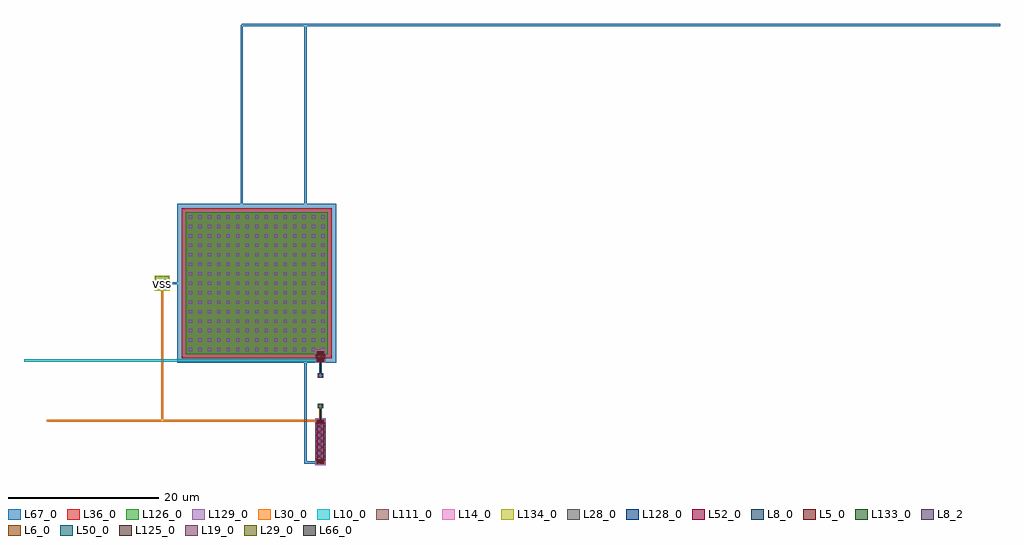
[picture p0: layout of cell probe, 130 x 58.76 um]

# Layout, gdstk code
import gdstk
lib = gdstk.Library(unit=1e-6, precision=1e-09)
def R(c, l, rs):  # rectangles x0, y0, x1, y1
    for r in rs: c.add(gdstk.rectangle(r[:2], r[2:], *l))
def A(c, l, x, y, w, h, nx, ny, dx, dy):  # array of equal rectangles
    R(c, l, [(x+i*dx, y+j*dy, x+i*dx+w, y+j*dy+h) for i in range(nx) for j in range(ny)])
L5_0 = (5, 0)
L6_0 = (6, 0)
L8_0 = (8, 0)
L8_2 = (8, 2)
L10_0 = (10, 0)
L14_0 = (14, 0)
L19_0 = (19, 0)
L28_0 = (28, 0)
L29_0 = (29, 0)
L30_0 = (30, 0)
L36_0 = (36, 0)
L50_0 = (50, 0)
L52_0 = (52, 0)
L66_0 = (66, 0)
L67_0 = (67, 0)
L111_0 = (111, 0)
L125_0 = (125, 0)
L126_0 = (126, 0)
L128_0 = (128, 0)
L129_0 = (129, 0)
L133_0 = (133, 0)
L134_0 = (134, 0)

rtt_bot_r0 = lib.new_cell('rtt_bot_R0')
R(rtt_bot_r0, L5_0, [(0,-0.43,1,-0.2), (0,-0.2,1,0), (0,5,1,5.2), (0,5.2,1,5.43)])
R(rtt_bot_r0, L6_0, [(0.07,-0.36,0.93,-0.2), (0.07,5.2,0.93,5.36)])
R(rtt_bot_r0, L8_0, [(0.02,-0.43,0.98,-0.13), (0.02,5.13,0.98,5.43)])
R(rtt_bot_r0, L8_2, [(0.02,-0.43,0.98,-0.13), (0.02,5.13,0.98,5.43)])
R(rtt_bot_r0, L14_0, [(-0.18,-0.61,1.18,0), (-0.18,0,1.18,5), (-0.18,5,1.18,5.61)])
R(rtt_bot_r0, L28_0, [(-0.2,0,1.2,5)])
R(rtt_bot_r0, L52_0, [(0,0,1,5)])
R(rtt_bot_r0, L111_0, [(-0.18,-0.61,1.18,0), (-0.2,0,1.2,5), (-0.18,5,1.18,5.61)])
R(rtt_bot_r0, L128_0, [(0,0,1,5)])
rtt_bot_r0.add(gdstk.Label('rppd r=1362.247', (0.5,2.5), layer=63, texttype=0))
rtt_bot_r0.add(gdstk.Label('rppd', (0.5,2.5), layer=52, texttype=0))

rtt_top_r0 = lib.new_cell('rtt_top_R0')
R(rtt_top_r0, L5_0, [(0,-0.43,1,-0.2), (0,-0.2,1,0), (0,0.5,1,0.7), (0,0.7,1,0.93)])
R(rtt_top_r0, L6_0, [(0.07,-0.36,0.93,-0.2), (0.07,0.7,0.93,0.86)])
R(rtt_top_r0, L8_0, [(0.02,-0.43,0.98,-0.13), (0.02,0.63,0.98,0.93)])
R(rtt_top_r0, L8_2, [(0.02,-0.43,0.98,-0.13), (0.02,0.63,0.98,0.93)])
R(rtt_top_r0, L14_0, [(-0.18,-0.61,1.18,0), (-0.18,0,1.18,0.5), (-0.18,0.5,1.18,1.11)])
R(rtt_top_r0, L28_0, [(-0.2,0,1.2,0.5)])
R(rtt_top_r0, L52_0, [(0,0,1,0.5)])
R(rtt_top_r0, L111_0, [(-0.18,-0.61,1.18,0), (-0.2,0,1.2,0.5), (-0.18,0.5,1.18,1.11)])
R(rtt_top_r0, L128_0, [(0,0,1,0.5)])
rtt_top_r0.add(gdstk.Label('rppd r=199.225', (0.5,0.25), layer=63, texttype=0))
rtt_top_r0.add(gdstk.Label('rppd', (0.5,0.25), layer=52, texttype=0))

vtt_decap_r0 = lib.new_cell('vtt_decap_R0')
R(vtt_decap_r0, L36_0, [(0,0,20,20)])
R(vtt_decap_r0, L67_0, [(-0.6,-0.6,20.6,20.6)])
R(vtt_decap_r0, L126_0, [(0.55,0.55,19.45,19.45)])
A(vtt_decap_r0, L129_0, 0.97, 0.97, 0.42, 0.42, 15, 15, 1.26, 1.26)
vtt_decap_r0.add(gdstk.Label('c=604f', (10,10), layer=63, texttype=0))
vtt_decap_r0.add(gdstk.Label('cmim', (10,10), layer=63, texttype=0))

via_metal1_metal2_4_5_11 = lib.new_cell('via_metal1_metal2_4.5_11.33_2x2')
R(via_metal1_metal2_4_5_11, L8_0, [(-0.35,-0.31,0.35,0.31)])
R(via_metal1_metal2_4_5_11, L10_0, [(-0.35,-0.305,0.35,0.305)])
R(via_metal1_metal2_4_5_11, L19_0, [(-0.3,-0.3,-0.11,-0.11), (0.11,-0.3,0.3,-0.11), (-0.3,0.11,-0.11,0.3), (0.11,0.11,0.3,0.3)])

via_metal1_metal3_4_5_7_ = lib.new_cell('via_metal1_metal3_4.5_7.28_2x2')
R(via_metal1_metal3_4_5_7_, L8_0, [(-0.35,-0.31,0.35,0.31)])
R(via_metal1_metal3_4_5_7_, L10_0, [(-0.35,-0.305,0.35,0.305)])
R(via_metal1_metal3_4_5_7_, L19_0, [(-0.3,-0.3,-0.11,-0.11), (0.11,-0.3,0.3,-0.11), (-0.3,0.11,-0.11,0.3), (0.11,0.11,0.3,0.3)])
R(via_metal1_metal3_4_5_7_, L29_0, [(-0.3,-0.3,-0.11,-0.11), (0.11,-0.3,0.3,-0.11), (-0.3,0.11,-0.11,0.3), (0.11,0.11,0.3,0.3)])
R(via_metal1_metal3_4_5_7_, L30_0, [(-0.35,-0.305,0.35,0.305)])

via_metal5_metal4__16_6_ = lib.new_cell('via_metal5_metal4_-16.6_23.61_2x2')
R(via_metal5_metal4__16_6_, L67_0, [(-0.31,-0.31,0.31,0.31)])
R(via_metal5_metal4__16_6_, L125_0, [(-0.21,-0.21,0.21,0.21)])
R(via_metal5_metal4__16_6_, L126_0, [(-0.95,-0.95,0.95,0.95)])
R(via_metal5_metal4__16_6_, L133_0, [(-0.45,-0.45,0.45,0.45)])
R(via_metal5_metal4__16_6_, L134_0, [(-1,-1,1,1)])

via_metal4_metal3__16_6_ = lib.new_cell('via_metal4_metal3_-16.6_23.61_2x2')
R(via_metal4_metal3__16_6_, L50_0, [(-0.35,-0.305,0.35,0.305)])
R(via_metal4_metal3__16_6_, L66_0, [(-0.3,-0.3,-0.11,-0.11), (0.11,-0.3,0.3,-0.11), (-0.3,0.11,-0.11,0.3), (0.11,0.11,0.3,0.3)])
R(via_metal4_metal3__16_6_, L67_0, [(-0.35,-0.31,0.35,0.31)])
R(via_metal4_metal3__16_6_, L125_0, [(-0.21,-0.21,0.21,0.21)])
R(via_metal4_metal3__16_6_, L126_0, [(-0.95,-0.95,0.95,0.95)])
R(via_metal4_metal3__16_6_, L133_0, [(-0.45,-0.45,0.45,0.45)])
R(via_metal4_metal3__16_6_, L134_0, [(-1,-1,1,1)])

probe = lib.new_cell('probe')
R(probe, L8_0, [(4.38,5.16,4.62,7.4), (4.38,11.21,4.62,13.45)])
R(probe, L10_0, [(4.35,11.33,4.65,13.33), (-35,13.18,4.5,13.48)])
R(probe, L30_0, [(-32,5.13,4.5,5.43), (-32,5.13,-16.6,5.43), (-16.75,5.28,-16.45,23.61), (4.35,5.28,4.65,7.28)])
R(probe, L67_0, [(2.35,-0.43,4.65,-0.13), (2.35,-0.28,2.65,58), (2.35,14.24,4.65,14.54), (2.35,14.39,2.65,58), (-16.75,23.46,-14.45,23.76), (-6.15,32.91,-3.85,33.21), (-6.15,33.06,-5.85,58), (-6,57.85,95,58.15), (2.5,57.85,95,58.15), (2.5,57.85,95,58.15)])
probe.add(gdstk.Reference(rtt_bot_r0, (4,0)))
probe.add(gdstk.Reference(rtt_top_r0, (4,13.61)))
probe.add(gdstk.Reference(vtt_decap_r0, (-14,13.61)))
probe.add(gdstk.Reference(via_metal1_metal2_4_5_11, (4.5,11.33)))
probe.add(gdstk.Reference(via_metal1_metal3_4_5_7_, (4.5,7.28)))
probe.add(gdstk.Reference(via_metal5_metal4__16_6_, (-16.6,23.61)))
probe.add(gdstk.Reference(via_metal4_metal3__16_6_, (-16.6,23.61)))
probe.add(gdstk.Label('vss', (-16.6,23.61), layer=67, texttype=25))

lib.write_gds('probe.gds')
